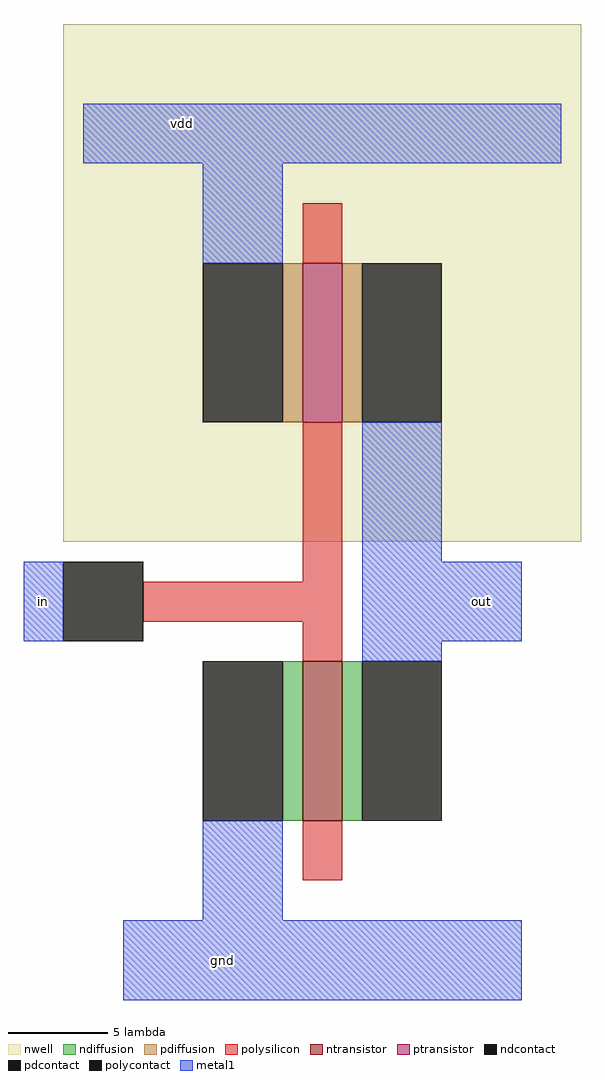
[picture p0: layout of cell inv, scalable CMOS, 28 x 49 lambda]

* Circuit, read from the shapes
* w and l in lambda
.subckt inv gnd in out vdd
M1 out in gnd VSUBS nfet w=8 l=2
M2 out in vdd n1 pfet w=8 l=2
.ends

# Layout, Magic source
magic
tech scmos
<< nwell >>
rect 0 0 26 26
<< ntransistor >>
rect 12 -14 14 -6
<< ptransistor >>
rect 12 6 14 14
<< ndiffusion >>
rect 11 -14 12 -6
rect 14 -14 15 -6
<< pdiffusion >>
rect 11 6 12 14
rect 14 6 15 14
<< ndcontact >>
rect 7 -14 11 -6
rect 15 -14 19 -6
<< pdcontact >>
rect 7 6 11 14
rect 15 6 19 14
<< polysilicon >>
rect 12 14 14 17
rect 12 -2 14 6
rect 4 -4 14 -2
rect 12 -6 14 -4
rect 12 -17 14 -14
<< polycontact >>
rect 0 -5 4 -1
<< metal1 >>
rect 1 19 25 22
rect 7 14 11 19
rect 15 -1 19 6
rect -2 -5 0 -1
rect 15 -5 23 -1
rect 15 -6 19 -5
rect 7 -19 11 -14
rect 3 -23 23 -19
<< labels >>
rlabel metal1 6 21 6 21 5 vdd
rlabel metal1 -1 -3 -1 -3 3 in
rlabel metal1 21 -3 21 -3 7 out
rlabel metal1 8 -21 8 -21 1 gnd
<< end >>
